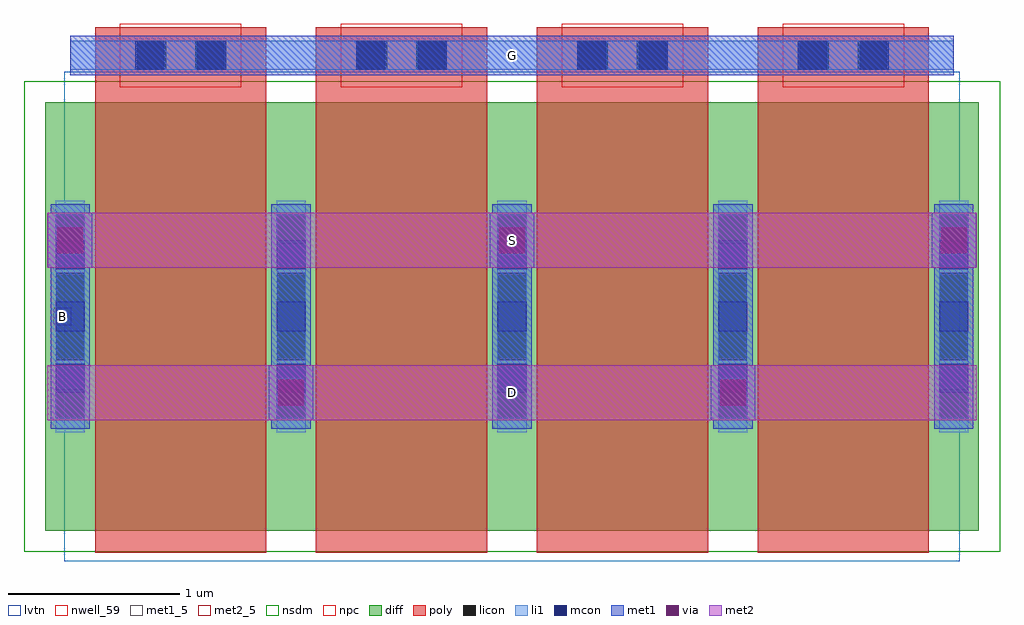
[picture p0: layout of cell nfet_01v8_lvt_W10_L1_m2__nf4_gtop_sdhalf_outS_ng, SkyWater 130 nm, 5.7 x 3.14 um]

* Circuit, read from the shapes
.subckt nfet_01v8_lvt_W10_L1_m2__nf4_gtop_sdhalf_outS_ng B D G S
XM1 D G S B sky130_fd_pr__nfet_01v8_lvt w=2.5 l=1 m=4
.ends

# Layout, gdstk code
import gdstk
lib = gdstk.Library(unit=1e-6, precision=1e-09)
def R(c, l, rs):  # rectangles x0, y0, x1, y1
    for r in rs: c.add(gdstk.rectangle(r[:2], r[2:], *l))
def A(c, l, x, y, w, h, nx, ny, dx, dy):  # array of equal rectangles
    R(c, l, [(x+i*dx, y+j*dy, x+i*dx+w, y+j*dy+h) for i in range(nx) for j in range(ny)])
nwell_59 = (64, 59)
diff = (65, 20)
poly = (66, 20)
licon = (66, 44)
li1 = (67, 20)
mcon = (67, 44)
met1_5 = (68, 5)
met1 = (68, 20)
via = (68, 44)
met2_5 = (69, 5)
met2 = (69, 20)
nsdm = (93, 44)
npc = (95, 20)
lvtn = (125, 44)

sky130_fd_pr__nfet_01v8_ = lib.new_cell('sky130_fd_pr__nfet_01v8_lvt_CB4NRA')
R(sky130_fd_pr__nfet_01v8_, diff, [(-2.725,-1.405,2.725,1.095)])
A(sky130_fd_pr__nfet_01v8_, poly, -2.435, -1.535, 1, 3.07, 4, 1, 1.29, 0)
A(sky130_fd_pr__nfet_01v8_, licon, -2.665, -0.75, 0.17, 0.17, 5, 4, 1.29, 0.34)
R(sky130_fd_pr__nfet_01v8_, licon, [(-2.19,1.285,-2.02,1.455), (-1.85,1.285,-1.68,1.455), (-0.9,1.285,-0.73,1.455), (-0.56,1.285,-0.39,1.455), (0.39,1.285,0.56,1.455), (0.73,1.285,0.9,1.455), (1.68,1.285,1.85,1.455), (2.02,1.285,2.19,1.455)])
A(sky130_fd_pr__nfet_01v8_, li1, -2.665, -0.83, 0.17, 1.35, 5, 1, 1.29, 0)
R(sky130_fd_pr__nfet_01v8_, li1, [(-2.58,1.285,2.58,1.455)])
A(sky130_fd_pr__nfet_01v8_, mcon, -2.665, -0.6, 0.17, 0.17, 5, 3, 1.29, 0.36)
R(sky130_fd_pr__nfet_01v8_, mcon, [(-2.2,1.285,-2.03,1.455), (-1.84,1.285,-1.67,1.455), (-0.91,1.285,-0.74,1.455), (-0.55,1.285,-0.38,1.455), (0.38,1.285,0.55,1.455), (0.74,1.285,0.91,1.455), (1.67,1.285,1.84,1.455), (2.03,1.285,2.2,1.455)])
A(sky130_fd_pr__nfet_01v8_, met1, -2.695, -0.81, 0.23, 1.31, 5, 1, 1.29, 0)
A(sky130_fd_pr__nfet_01v8_, met1, -2.415, 1.255, 0.96, 0.03, 4, 2, 1.29, 0.2)
R(sky130_fd_pr__nfet_01v8_, met1, [(-2.58,1.285,2.58,1.455)])
R(sky130_fd_pr__nfet_01v8_, nsdm, [(-2.85,-1.53,2.85,1.22)])
A(sky130_fd_pr__nfet_01v8_, npc, -2.29, 1.185, 0.71, 0.37, 4, 1, 1.29, 0)
R(sky130_fd_pr__nfet_01v8_, lvtn, [(-2.615,-1.585,2.615,1.275)])
sky130_fd_pr__nfet_01v8_.add(gdstk.Label('D0', (-2.58,-0.155), layer=67, texttype=5))
sky130_fd_pr__nfet_01v8_.add(gdstk.Label('G', (1.935,1.37), layer=67, texttype=5))
sky130_fd_pr__nfet_01v8_.add(gdstk.Label('G', (0.645,1.37), layer=67, texttype=5))
sky130_fd_pr__nfet_01v8_.add(gdstk.Label('G', (-0.645,1.37), layer=67, texttype=5))
sky130_fd_pr__nfet_01v8_.add(gdstk.Label('G', (-1.935,1.37), layer=67, texttype=5))
sky130_fd_pr__nfet_01v8_.add(gdstk.Label('S1', (-1.29,-0.155), layer=67, texttype=5))
sky130_fd_pr__nfet_01v8_.add(gdstk.Label('D2', (0,-0.155), layer=67, texttype=5))
sky130_fd_pr__nfet_01v8_.add(gdstk.Label('S3', (1.29,-0.155), layer=67, texttype=5))

nfet_01v8_lvt_w10_l1_m2_ = lib.new_cell('nfet_01v8_lvt_W10_L1_m2__nf4_gtop_sdhalf_outS_ng')
R(nfet_01v8_lvt_w10_l1_m2_, nwell_59, [(0.05,1.33,0.15,1.43)])
R(nfet_01v8_lvt_w10_l1_m2_, met1_5, [(0.145,2.79,5.305,3.02)])
A(nfet_01v8_lvt_w10_l1_m2_, met1, 0.015, 1.665, 0.26, 0.32, 3, 1, 2.58, 0)
R(nfet_01v8_lvt_w10_l1_m2_, met1, [(1.305,0.775,1.565,1.095), (3.885,0.775,4.145,1.095), (0.145,2.79,5.305,3.02)])
A(nfet_01v8_lvt_w10_l1_m2_, via, 0.07, 1.75, 0.15, 0.15, 3, 1, 2.58, 0)
R(nfet_01v8_lvt_w10_l1_m2_, via, [(1.36,0.86,1.51,1.01), (3.94,0.86,4.09,1.01)])
R(nfet_01v8_lvt_w10_l1_m2_, met2_5, [(0.01,0.775,5.44,1.095), (0.01,1.665,5.44,1.985)])
R(nfet_01v8_lvt_w10_l1_m2_, met2, [(0.01,0.775,5.44,1.095), (0.01,1.665,5.44,1.985)])
nfet_01v8_lvt_w10_l1_m2_.add(gdstk.Reference(sky130_fd_pr__nfet_01v8_, (2.725,1.535)))
nfet_01v8_lvt_w10_l1_m2_.add(gdstk.Label('S', (2.725,1.825), layer=69, texttype=5))
nfet_01v8_lvt_w10_l1_m2_.add(gdstk.Label('D', (2.725,0.935), layer=69, texttype=5))
nfet_01v8_lvt_w10_l1_m2_.add(gdstk.Label('G', (2.725,2.905), layer=68, texttype=5))
nfet_01v8_lvt_w10_l1_m2_.add(gdstk.Label('B', (0.1,1.38), layer=64, texttype=59))

lib.write_gds('nfet_01v8_lvt_W10_L1_m2__nf4_gtop_sdhalf_outS_ng.gds')
